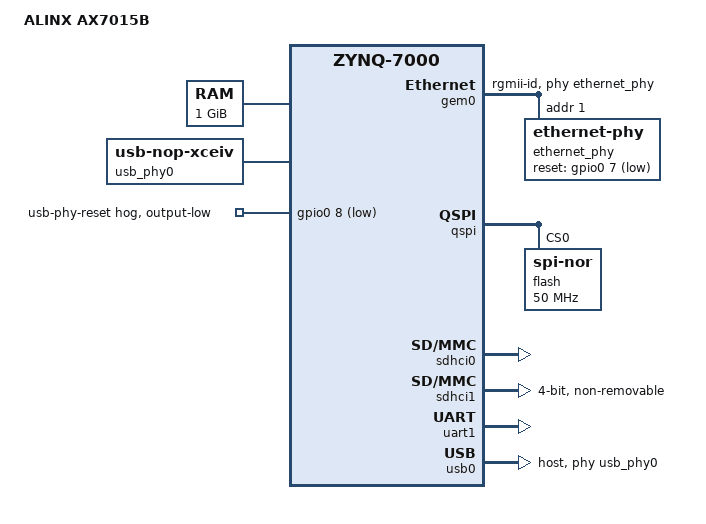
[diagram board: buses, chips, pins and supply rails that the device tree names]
// SPDX-License-Identifier: GPL-2.0
/*
 * ALINX AX7015B: AC7015B core board (XC7Z015-2CLG485, 1 GiB DDR3, 8 GB eMMC,
 * 32 MiB QSPI flash) on the AX7015B carrier.
 *
 * PS peripherals only: the PL is not configured at boot, so the PL Ethernet
 * port, HDMI, the PL LEDs/keys and the EMIO I2C buses (I2C0/1) are absent.
 *
 * One file for both U-Boot (copied to arch/arm/dts) and Linux (copied to
 * arch/arm/boot/dts/xilinx); each tree ships its own zynq-7000.dtsi. DDR,
 * clocks and the MIO muxing are set up by ps7_init in U-Boot SPL, hence no
 * pinctrl nodes. MIO assignment (reference design ps_config.tcl):
 *   1..6 QSPI, 7 PHY reset, 8 USB PHY reset (hog), 10 SD card detect,
 *   12..13 UART1, 16..27 GEM0 RGMII, 28..39 USB0 ULPI, 40..45 SD0 (microSD),
 *   46..51 SD1 (eMMC, 4 bit), 52..53 GEM0 MDIO.
 */
/dts-v1/;
#include "zynq-7000.dtsi"
#include <dt-bindings/gpio/gpio.h>

/ {
	model = "ALINX AX7015B";
	compatible = "alinx,ax7015b", "xlnx,zynq-7000";

	aliases {
		ethernet0 = &gem0;
		mmc0 = &sdhci0;
		mmc1 = &sdhci1;
		serial0 = &uart1;
		spi0 = &qspi;
	};

	memory@0 {
		device_type = "memory";
		reg = <0x0 0x40000000>;
	};

	chosen {
		stdout-path = "serial0:115200n8";
	};

	/* USB3320C ULPI transceiver; its reset is the MIO8 hog below. */
	usb_phy0: phy0 {
		compatible = "usb-nop-xceiv";
		#phy-cells = <0>;
	};
};

&clkc {
	ps-clk-frequency = <33333333>;
};

/*
 * USB3320C reset (OTG_RESETN, MIO8, active low) released as soon as the GPIO
 * controller probes. As reset-gpios of the usb-nop-xceiv it is only released
 * in the controller's PHY init, right before ChipIdea's own reset, when the
 * ULPI clock is not running yet: ci_hdrc then fails silently at boot (a manual
 * rebind later works).
 */
&gpio0 {
	usb-phy-reset-hog {
		gpio-hog;
		gpios = <8 GPIO_ACTIVE_LOW>;
		output-low;
		line-name = "usb-phy-reset";
	};
};

/*
 * JL2121 (newer boards) or KSZ9031 (older ones) at MDIO address 1, reset on
 * MIO7 (active low). The RGMII delays are strapped in the PHY. No JL2121
 * driver exists upstream; the generic PHY driver handles it.
 */
&gem0 {
	status = "okay";
	phy-mode = "rgmii-id";
	phy-handle = <&ethernet_phy>;

	ethernet_phy: ethernet-phy@1 {
		reg = <1>;
		reset-gpios = <&gpio0 7 GPIO_ACTIVE_LOW>;
		reset-assert-us = <10000>;
		reset-deassert-us = <30000>;
	};
};

&qspi {
	bootph-all;
	status = "okay";
	num-cs = <1>;

	flash@0 {
		/* W25Q256 on current boards; probed by JEDEC ID. */
		compatible = "jedec,spi-nor";
		reg = <0>;
		spi-max-frequency = <50000000>;
		spi-tx-bus-width = <1>;
		spi-rx-bus-width = <4>;
		#address-cells = <1>;
		#size-cells = <1>;
	};
};

/* microSD on the carrier: boot device, eicke A/B disk. */
&sdhci0 {
	bootph-all;
	status = "okay";
};

/* 8 GB eMMC on the core board (not bootable by the Zynq-7000 boot ROM). */
&sdhci1 {
	status = "okay";
	bus-width = <4>;
	non-removable;
	disable-wp;
};

/* Console: CP2102 USB-UART on the carrier. */
&uart1 {
	bootph-all;
	status = "okay";
};

/* Host only: four ports behind a USB2514 hub. */
&usb0 {
	status = "okay";
	dr_mode = "host";
	usb-phy = <&usb_phy0>;
};
